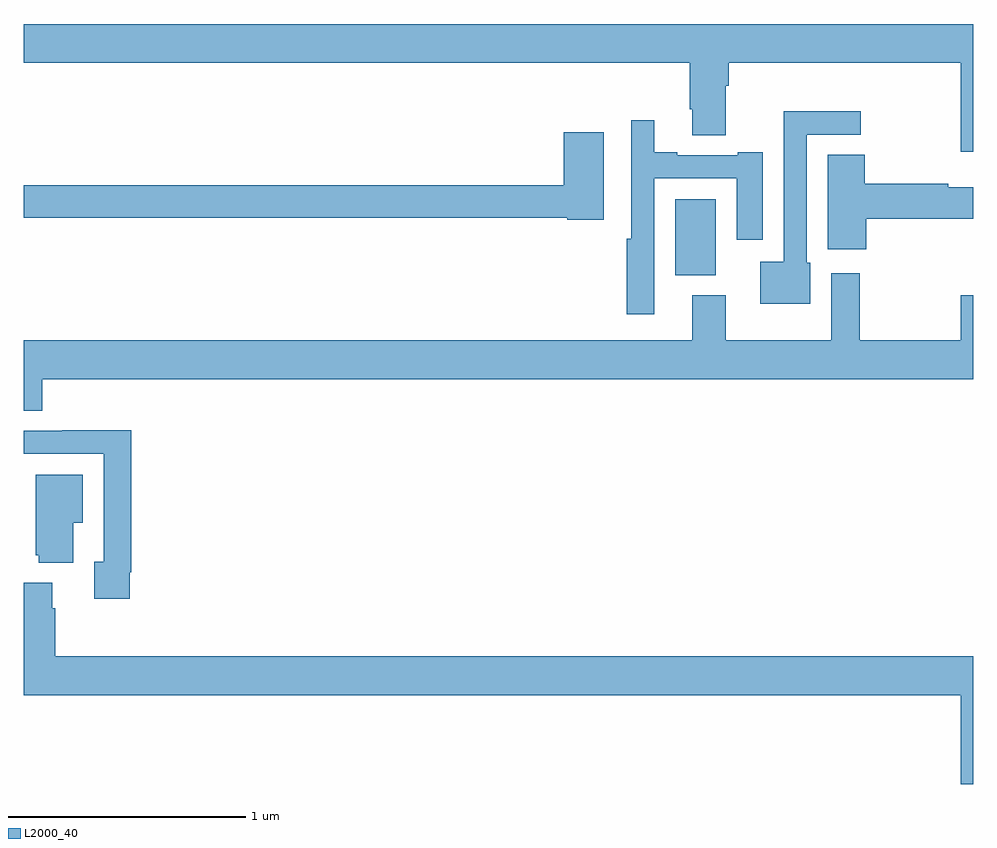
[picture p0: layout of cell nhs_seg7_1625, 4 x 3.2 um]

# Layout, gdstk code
import gdstk
lib = gdstk.Library(unit=1e-6, precision=1e-09)
def R(c, l, rs):  # rectangles x0, y0, x1, y1
    for r in rs: c.add(gdstk.rectangle(r[:2], r[2:], *l))
def P(c, l, *ps):  # polygons
    for p in ps: c.add(gdstk.Polygon(p, *l))
L2000_40 = (2000, 40)

nhs_seg7_1625 = lib.new_cell('nhs_seg7_1625')
R(nhs_seg7_1625, L2000_40, [(223.745,1046.342,223.915,1046.662)])
P(nhs_seg7_1625, L2000_40, [(225,1047.4),(221,1047.4),(221,1047.236),(223.805,1047.236),(223.805,1047.04),(223.817,1047.04),(223.817,1046.932),(223.957,1046.932),(223.957,1047.14),(223.97,1047.14),(223.97,1047.236),(224.948,1047.236),(224.948,1046.862),(225,1046.862)],
  [(224.314,1046.394),(224.298,1046.394),(224.298,1046.934),(224.527,1046.934),(224.527,1047.032),(224.202,1047.032),(224.202,1046.398),(224.102,1046.398),(224.102,1046.222),(224.314,1046.222)],
  [(223.656,1046.751),(224.003,1046.751),(224.003,1046.49),(224.113,1046.49),(224.113,1046.86),(224.009,1046.86),(224.009,1046.847),(223.753,1046.847),(223.753,1046.86),(223.657,1046.86),(223.657,1046.995),(223.56,1046.995),(223.56,1046.495),(223.54,1046.495),(223.54,1046.178),(223.656,1046.178)],
  [(223.444,1046.944),(223.274,1046.944),(223.274,1046.72),(221,1046.72),(221,1046.584),(223.29,1046.584),(223.29,1046.576),(223.444,1046.576)],
  [(224.549,1046.579),(225,1046.579),(225,1046.713),(224.894,1046.713),(224.894,1046.726),(224.544,1046.726),(224.544,1046.849),(224.387,1046.849),(224.387,1046.451),(224.549,1046.451)],
  [(221.078,1045.904),(225,1045.904),(225,1046.257),(224.948,1046.257),(224.948,1046.068),(224.523,1046.068),(224.523,1046.35),(224.402,1046.35),(224.402,1046.068),(223.957,1046.068),(223.957,1046.257),(223.817,1046.257),(223.817,1046.068),(221,1046.068),(221,1045.771),(221.078,1045.771)],
  [(221.446,1045.09),(221.453,1045.09),(221.453,1045.688),(221.161,1045.688),(221.161,1045.686),(221,1045.686),(221,1045.59),(221.337,1045.59),(221.337,1045.134),(221.297,1045.134),(221.297,1044.978),(221.446,1044.978)],
  [(221.209,1045.298),(221.248,1045.298),(221.248,1045.501),(221.051,1045.501),(221.051,1045.161),(221.063,1045.161),(221.063,1045.13),(221.209,1045.13)],
  [(225,1044.736),(221.132,1044.736),(221.132,1044.938),(221.119,1044.938),(221.119,1045.045),(221,1045.045),(221,1044.572),(224.948,1044.572),(224.948,1044.198),(225,1044.198)])

lib.write_gds('nhs_seg7_1625.gds')
